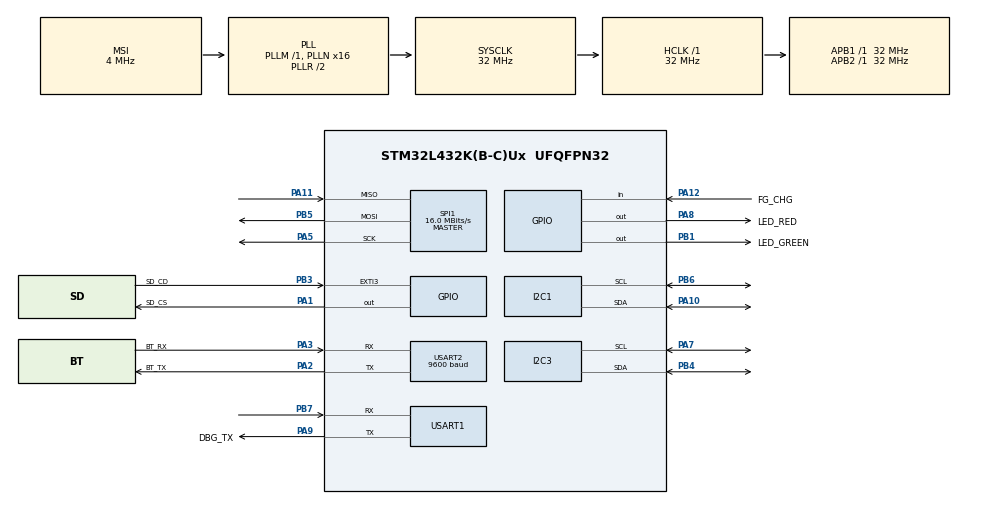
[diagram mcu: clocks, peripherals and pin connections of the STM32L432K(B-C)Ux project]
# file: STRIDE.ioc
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FATFS._MAX_SS=4096
FATFS._USE_LFN=1
I2C1.NoStretchMode=I2C_NOSTRETCH_DISABLE
I2C1.OwnAddress=0x0b
I2C1.Timing=0x00707CBB
I2C3.Timing=0x00707CBB
Mcu.Family=STM32L4
Mcu.Name=STM32L432K(B-C)Ux
Mcu.Package=UFQFPN32
NVIC.EXTI3_IRQn=true\:0\:0\:false\:false\:true\:true\:true\:true
NVIC.PriorityGroup=NVIC_PRIORITYGROUP_4
NVIC.USART1_IRQn=true\:0\:0\:false\:false\:true\:true\:true\:true
NVIC.USART2_IRQn=true\:0\:0\:false\:false\:true\:true\:true\:true
PA1.GPIO_Label=SD_CS
PA1.PinState=GPIO_PIN_SET
PA1.Signal=GPIO_Output
PA10.GPIO_Pu=GPIO_NOPULL
PA10.Mode=I2C
PA10.Signal=I2C1_SDA
PA11.Mode=Full_Duplex_Master
PA11.Signal=SPI1_MISO
PA12.GPIO_Label=FG_CHG
PA12.GPIO_PuPd=GPIO_PULLUP
PA12.Signal=GPIO_Input
PA13\ (JTMS-SWDIO).GPIO_Label=SWDIO
PA13\ (JTMS-SWDIO).Mode=Serial_Wire
PA13\ (JTMS-SWDIO).Signal=SYS_JTMS-SWDIO
PA14\ (JTCK-SWCLK).GPIO_Label=SWCLK
PA14\ (JTCK-SWCLK).Mode=Serial_Wire
PA14\ (JTCK-SWCLK).Signal=SYS_JTCK-SWCLK
PA2.GPIO_Label=BT_TX
PA2.Mode=Asynchronous
PA2.Signal=USART2_TX
PA3.GPIO_Label=BT_RX
PA3.Mode=Asynchronous
PA3.Signal=USART2_RX
PA5.Mode=Full_Duplex_Master
PA5.Signal=SPI1_SCK
PA7.Mode=I2C
PA7.Signal=I2C3_SCL
PA8.GPIO_Label=LED_RED
PA8.Signal=GPIO_Output
PA9.GPIO_Label=DBG_TX
PA9.Mode=Asynchronous
PA9.Signal=USART1_TX
PB1.GPIO_Label=LED_GREEN
PB1.Signal=GPIO_Output
PB3\ (JTDO-TRACESWO).GPIO_Label=SD_CD
PB3\ (JTDO-TRACESWO).GPIO_ModeDefaultEXTI=GPIO_MODE_IT_RISING_FALLING
PB3\ (JTDO-TRACESWO).GPIO_PuPd=GPIO_PULLUP
PB3\ (JTDO-TRACESWO).Signal=GPXTI3
PB4\ (NJTRST).Mode=I2C
PB4\ (NJTRST).Signal=I2C3_SDA
PB5.Mode=Full_Duplex_Master
PB5.Signal=SPI1_MOSI
PB6.GPIO_Pu=GPIO_NOPULL
PB6.Mode=I2C
PB6.Signal=I2C1_SCL
PB7.Mode=Asynchronous
PB7.Signal=USART1_RX
PC14-OSC32_IN\ (PC14).Mode=LSE-External-Oscillator
PC14-OSC32_IN\ (PC14).Signal=RCC_OSC32_IN
PC15-OSC32_OUT\ (PC15).Mode=LSE-External-Oscillator
PC15-OSC32_OUT\ (PC15).Signal=RCC_OSC32_OUT
ProjectManager.HeapSize=0x200
ProjectManager.StackSize=0x400
ProjectManager.TargetToolchain=STM32CubeIDE
RCC.AHBFreq_Value=32000000
RCC.APB1Freq_Value=32000000
RCC.APB1TimFreq_Value=32000000
RCC.APB2Freq_Value=32000000
RCC.APB2TimFreq_Value=32000000
RCC.CortexFreq_Value=32000000
RCC.HCLKFreq_Value=32000000
RCC.HSE_VALUE=8000000
RCC.HSI16_VALUE=16000000
RCC.HSI48_VALUE=48000000
RCC.HSI_VALUE=16000000
RCC.MSI_VALUE=4000000
RCC.PLLMUL=RCC_PLLMUL_4
RCC.PLLN=16
RCC.SYSCLKFreq_VALUE=32000000
RCC.SYSCLKSource=RCC_SYSCLKSOURCE_PLLCLK
RCC.VCOOutputFreq_Value=64000000
SPI1.BaudRatePrescaler=SPI_BAUDRATEPRESCALER_2
SPI1.CalculateBaudRate=16.0 MBits/s
SPI1.DataSize=SPI_DATASIZE_8BIT
SPI1.Direction=SPI_DIRECTION_2LINES
SPI1.Mode=SPI_MODE_MASTER
SPI1.VirtualType=VM_MASTER
TIM1.Prescaler=32
TIM2.Prescaler=32
USART1.RxPinLevelInvertParam=ADVFEATURE_RXINV_DISABLE
USART1.SwapParam=ADVFEATURE_SWAP_DISABLE
USART1.VirtualMode-Asynchronous=VM_ASYNC
USART2.BaudRate=9600
USART2.VirtualMode-Asynchronous=VM_ASYNC
VP_FATFS_VS_Generic.Mode=User_defined
VP_TIM1_VS_ClockSourceINT.Mode=Internal
VP_TIM2_VS_ClockSourceINT.Mode=Internal
board=NUCLEO-L432KC

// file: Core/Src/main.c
/* USER CODE BEGIN Header */
/**
  ******************************************************************************
  * @file           : main.c
  * @brief          : Main program body
  ******************************************************************************
  * @attention
  *
  * Copyright (c) 2022 STMicroelectronics.
  * All rights reserved.
  *
  * This software is licensed under terms that can be found in the LICENSE file
  * in the root directory of this software component.
  * If no LICENSE file comes with this software, it is provided AS-IS.
  *
  ******************************************************************************
  */
/* USER CODE END Header */
#include "main.h"
#include "fatfs.h"

/* USER CODE BEGIN Includes */
#include <stdio.h>
#include <stdlib.h>
#include <stdbool.h>
#include <math.h>
#include <string.h>

#include "retarget.h"
#include "fatfs_sd.h"

#include "sensor_service.h"
#include "data_service.h"
#include "bluetooth_service.h"
#include "sd_logger.h"
#include "bno055_stm32.h"
#include "bq27441.h"
#include "debug_console.h"

/* USER CODE END Includes */

/* USER CODE BEGIN PTD */
#define FORCE_BUF_CAPACITY 500
#define IMPACT_ANGLE_BUF_CAPACITY 50
#define IMPACT_FORCE_BUF_CAPACITY 50

#define MIN_STEP_SEPARATION_MILLIS 200
#define PEAK_FORCE_BUF_CAPACITY 100

#define BATTERY_BUF_CAPACITY 100

#define MAX_INT_32 0xffffffff

#define LOG_SYNC_INTERVAL 5000

#define SEND_STEP_DATA_INTERVAL 490
// low power interval
#define SEND_STEP_DATA_LP_INTERVAL 990
#define SEND_BATT_DATA_INTERVAL 60000
#define BATT_UPDATE_INTERVAL 500
#define DEFAULT_LOW_POWER_THRESHOLD 20

#define SD_CARD_INIT_INTERVAL 500

/* USER CODE END PTD */

/* USER CODE BEGIN PM */
#define max(a,b) \
   ({ __typeof__ (a) _a = (a); \
       __typeof__ (b) _b = (b); \
     _a > _b ? _a : _b; })

#define min(a,b) \
   ({ __typeof__ (a) _a = (a); \
       __typeof__ (b) _b = (b); \
     _a < _b ? _a : _b; })
/* USER CODE END PM */

 I2C_HandleTypeDef hi2c1;
I2C_HandleTypeDef hi2c3;

SPI_HandleTypeDef hspi1;

TIM_HandleTypeDef htim1;
TIM_HandleTypeDef htim2;

UART_HandleTypeDef huart1;
UART_HandleTypeDef huart2;

/* USER CODE BEGIN PV */

float user_mass;
int low_power_threshold = 20;
uint16_t batt_charge_buffer[BATTERY_BUF_CAPACITY];
uint16_t batt_charge_idx;

// Buffers
force_point force_buf[FORCE_BUF_CAPACITY];
float impulse_buffer;
float impact_roll_buffer[IMPACT_ANGLE_BUF_CAPACITY];
float impact_pitch_buffer[IMPACT_ANGLE_BUF_CAPACITY];
uint32_t impact_angle_buffer_size;
float impact_force_buffer[IMPACT_FORCE_BUF_CAPACITY];
uint32_t impact_force_buffer_size;

bool is_low_power_threshold_updated = false;
bool is_batt_connected = true;
bool is_sd_card_inserted = false;
bool is_logging = false;
bool is_sd_init_attempted = false;
FIL log_file;

uint32_t last_sd_card_init_time;

/* USER CODE END PV */

void SystemClock_Config(void);
static void MX_GPIO_Init(void);
static void MX_USART2_UART_Init(void);
static void MX_TIM1_Init(void);
static void MX_TIM2_Init(void);
static void MX_I2C1_Init(void);
static void MX_I2C3_Init(void);
static void MX_SPI1_Init(void);
static void MX_USART1_UART_Init(void);
/* USER CODE BEGIN PFP */

void print_hex(char* data, uint32_t len);
uint32_t diff_time(uint32_t start, uint32_t end);

/* USER CODE END PFP */

/* USER CODE BEGIN 0 */

void print_hex(char* data, uint32_t len) {
	for (uint32_t i = 0; i < len; i++) {
		printf("%02x ", data[i]);
	}
	printf("\r\n");
}

uint32_t diff_time(uint32_t start, uint32_t end) {
	if (end < start) {
		return MAX_INT_32 - end + start;
	} else {
		return end - start;
	}
}

bool get_is_sd_card_inserted() {
  GPIO_PinState sd_cd_state = HAL_GPIO_ReadPin(SD_CD_GPIO_Port, SD_CD_Pin);
  return sd_cd_state == GPIO_PIN_SET;
}

uint16_t get_avg_batt_charge() {
  if (!is_batt_connected) {
    return 100;
  }

  uint16_t batt_charge_sum = 0;
  for (uint16_t i = 0; i < BATTERY_BUF_CAPACITY; i++) {
    batt_charge_sum += batt_charge_buffer[i];
  }
  return batt_charge_sum / BATTERY_BUF_CAPACITY;
}

void update_batt_charge() {
  if (!is_batt_connected) {
    return;
  }
  uint16_t batt_soc_result = BQ27441_soc(FILTERED);
  if (batt_soc_result == 0 || batt_soc_result > 100) {
    return;
  }

  if (get_avg_batt_charge() == 0) {
    for (uint16_t i = 0; i < BATTERY_BUF_CAPACITY; i++) {
      batt_charge_buffer[i] = batt_soc_result;
    }
  } else {
    batt_charge_buffer[batt_charge_idx] = batt_soc_result;
    batt_charge_idx = (batt_charge_idx + 1) % BATTERY_BUF_CAPACITY;
  }
}

uint8_t get_is_batt_low_power() {
  uint16_t batt_charge = get_avg_batt_charge();
  return batt_charge > 0 && batt_charge < (float)low_power_threshold;
}

void HAL_GPIO_EXTI_Callback(uint16_t GPIO_Pin)
{
    if (GPIO_Pin == SD_CD_Pin) {
      is_sd_card_inserted = get_is_sd_card_inserted();
      if (is_sd_card_inserted) {
        last_sd_card_init_time = HAL_GetTick();
      }
    }
}

void HAL_UART_RxCpltCallback(UART_HandleTypeDef *huart) {
  if (huart == &huart1) {
    dbg_callback();
  } else {
    bt_recv_callback();
  }
}

void handle_bt_message(bt_header* header, uint8_t* data) {
  switch (header->cmd) {
    case BT_WEIGHT_CMD:
      user_mass = *(float*)(data);
      printf("New user mass: %f\r\n", user_mass);
      break;

    case BT_CALIBRATE_CMD:
      imu_calibrate();
      printf("Received calibration command\r\n");
      break;
  }
}

void handle_dbg_command(uint8_t cmd, char* value) {
  switch (cmd) {
    case DBG_LPTHRESH_CMD: {
      // convert value string to base 10 integer
      long new_lp_threshold = strtol(value, NULL, 10);
      low_power_threshold = new_lp_threshold;
      is_low_power_threshold_updated = true;
      printf("Setting low power battery threshold to %d\r\n", low_power_threshold);
      break;
    }

    case DBG_CALIBRATE_CMD:
      imu_calibrate();
      printf("Calibrated.\r\n");
      break;

    default:
      printf("Unknown command\r\n");
      break;
  }
}

/* USER CODE END 0 */

int main(void)
{

  /* MCU Configuration--------------------------------------------------------*/

  /* Reset of all peripherals, Initializes the Flash interface and the Systick. */
  HAL_Init();

  /* Configure the system clock */
  SystemClock_Config();

  /* Initialize all configured peripherals */
  MX_GPIO_Init();
  MX_USART2_UART_Init();
  MX_TIM1_Init();
  MX_TIM2_Init();
  MX_FATFS_Init();
  MX_I2C1_Init();
  MX_I2C3_Init();
  MX_SPI1_Init();
  MX_USART1_UART_Init();
  /* USER CODE BEGIN 2 */

  RetargetInit(&huart1);

  if (imu_init(&hi2c1) != SENSOR_OK) {
    printf("[Fatal] [main] IMU initialization failed\r\n");
    return 0;
  }
  if (!BQ27441_init(&hi2c3)) {
    printf("[Warning] [main] Battery monitor initialization failed\r\n");
    is_batt_connected = false;
  }
  is_sd_card_inserted = get_is_sd_card_inserted();

  dbg_init(&huart1, handle_dbg_command);
  bt_init(&huart2, handle_bt_message);

  HAL_TIM_Base_Start(&htim1);
  HAL_TIM_Base_Start(&htim2);

  uint32_t data_buf_idx = 0;
  accel_vec accel_data;
  uint8_t is_first_loop = 1;
  uint8_t is_force_spike = 0;

  peak_force_point peak_force_buf[PEAK_FORCE_BUF_CAPACITY];
  uint32_t peak_force_buf_size = 0;
  peak_force_point new_peak_force;
  uint32_t last_peak_force_time = 0;

  user_mass = 65;
  batt_charge_idx = 0;

  impulse_buffer = 0;
  impact_angle_buffer_size = 0;
  impact_force_buffer_size = 0;

  float force_baseline = user_mass * GRAV_ACCEL;
  float high_force_threshold = force_baseline + 600;
  float step_threshold = high_force_threshold * 2;

  uint32_t last_log_sync_time = HAL_GetTick();
  uint32_t last_send_step_time = HAL_GetTick();
  uint32_t last_send_batt_time = HAL_GetTick() - SEND_BATT_DATA_INTERVAL;
  uint32_t last_update_batt_time = HAL_GetTick() - BATT_UPDATE_INTERVAL;

  printf("[Info] [main] Initialization complete.\r\n");

  /* USER CODE END 2 */

  /* Infinite loop */
  /* USER CODE BEGIN WHILE */

  while (1)
  {
    if (is_sd_card_inserted && !is_sd_init_attempted) {
      // we don't want to try initializing the card right away since the
      // connection might not be solid, so we wait for SD_CARD_INIT_INTERVAL
      // before attempting init
      // if (HAL_GetTick() - last_sd_card_init_time > SD_CARD_INIT_INTERVAL) {
      last_sd_card_init_time = HAL_GetTick();
      is_sd_init_attempted = true;
      is_logging = sd_logger_init(&log_file) == SD_OK;
      if (is_logging) {
        printf("[Info] [main] SD card initialized\r\n");
      } else {
        printf("[Info] [main] SD card initialization failed\r\n");
      }
      // }
    } else if (!is_sd_card_inserted && is_logging) {
      printf("[Info] [main] SD card ejected\r\n");
      sd_logger_terminate(&log_file);
      is_logging = false;
      is_sd_init_attempted = false;
    }

	  force_point* force_pt = &force_buf[data_buf_idx];
	  force_point* prev_force_pt = &force_buf[(data_buf_idx - 1) % FORCE_BUF_CAPACITY];

    force_pt->elapsed_time = __HAL_TIM_GetCounter(&htim1);
	  __HAL_TIM_SET_COUNTER(&htim1, 0);
    imu_sample(&accel_data, &force_pt->angle, force_pt->elapsed_time);
	  force_pt->force = compute_force(&accel_data);

	  if (is_logging) {
		  f_printf(
        &log_file,
        "%ld,%ld,%ld,%ld,%ld,%ld,%ld\n",
        force_pt->elapsed_time,
        (int32_t)(accel_data.x * 1000),
        (int32_t)(accel_data.y * 1000),
        (int32_t)(accel_data.z * 1000),
        (int32_t)(force_pt->angle.roll * 1000),
        (int32_t)(force_pt->angle.pitch * 1000),
        (int32_t)(force_pt->angle.yaw * 1000)
      );
	  }

    // if (accel_data.y == 0) {
    //   HAL_GPIO_WritePin(LED_RED_GPIO_Port, LED_RED_Pin, GPIO_PIN_SET);
    // } else {
    //   HAL_GPIO_WritePin(LED_RED_GPIO_Port, LED_RED_Pin, GPIO_PIN_RESET);
    // }

	  new_peak_force.index = -1; // -1 means no new peak force
	  if (!is_first_loop) {
		  uint8_t force_is_increasing = force_pt->force > prev_force_pt->force;
		  if (!is_force_spike) {
			  // decreasing -> decreasing
			  if (force_pt->force > step_threshold && force_is_increasing) {
				  // decreasing -> increasing
				  is_force_spike = 1;
			  }
		  } else if (!force_is_increasing) {
			  // increasing -> decreasing
			  new_peak_force.force = prev_force_pt->force;
			  new_peak_force.index = (data_buf_idx - 1) % FORCE_BUF_CAPACITY;
			  is_force_spike = 0;
		  }
		  // increasing -> increasing: do nothing
	  }

	  // if force has peaked, add it to list of force peaks
	  if (new_peak_force.index != -1) {
		  last_peak_force_time = HAL_GetTick();
		  peak_force_buf[peak_force_buf_size] = new_peak_force;
      // in the rare case that there are more peak forces that the buffer can handle,
      // just keep overwriting the last entry
      peak_force_buf_size = min(peak_force_buf_size + 1, PEAK_FORCE_BUF_CAPACITY - 1);
//		   printf("Peak %ld %ld\r\n", (uint32_t)new_peak_force.force, last_peak_force_time);
	  }

	  // batch forces together, each batch of forces are caused by the same step
	  if (diff_time(last_peak_force_time, HAL_GetTick()) > MIN_STEP_SEPARATION_MILLIS) {
		  uint8_t is_step = 0;
		  peak_force_point* max_peak_force = 0;

		  if (peak_force_buf_size > 0) {
			  max_peak_force = &peak_force_buf[0];

			  for (uint8_t i = 1; i < peak_force_buf_size; i++) {
				  if (peak_force_buf[i].force > max_peak_force->force) {
					  max_peak_force = &peak_force_buf[i];
				  }
			  }

			  if (max_peak_force->force > step_threshold) {
				  is_step = 1;
			  }
			  peak_force_buf_size = 0;
		  }

		  if (is_step) {
			  int32_t peak_start_index;
			  int32_t peak_end_index;

			  // find where max peak started
			  peak_start_index = max_peak_force->index;
			  while (force_buf[peak_start_index].force > high_force_threshold) {
				  peak_start_index = (peak_start_index - 1) % FORCE_BUF_CAPACITY;
			  }

			  // find where max peak ends
			  peak_end_index = max_peak_force->index;
			  while (force_buf[peak_end_index].force > high_force_threshold) {
				  peak_end_index = (peak_end_index + 1) % FORCE_BUF_CAPACITY;
			  }

			  // account for possible wrap-around in force buffer
			  if (peak_end_index < peak_start_index) {
				  peak_end_index = FORCE_BUF_CAPACITY + peak_end_index;
			  }

			  // riemann sum over max force peak
			  for (uint32_t i = peak_start_index + 1; i < peak_end_index; i++) {
				  impulse_buffer +=
            force_buf[i % FORCE_BUF_CAPACITY].force *
            force_buf[i % FORCE_BUF_CAPACITY].elapsed_time / 1000000.0f;
			  }

			  angle_vec* peak_angle = &force_buf[max_peak_force->index].angle;
			  // get maximum of the 3 angles
			  impact_roll_buffer[impact_angle_buffer_size] = peak_angle->roll;
        impact_pitch_buffer[impact_angle_buffer_size] = peak_angle->pitch;
			  impact_force_buffer[impact_force_buffer_size] = max_peak_force->force;

			  impact_angle_buffer_size = min(impact_angle_buffer_size + 1, IMPACT_ANGLE_BUF_CAPACITY - 1);
			  impact_force_buffer_size = min(impact_force_buffer_size + 1, IMPACT_FORCE_BUF_CAPACITY - 1);

			  printf(
          "Step - Impulse: %f, Max Force: %f, Angle: %f %f %f\r\n",
          impulse_buffer,
          max_peak_force->force,
          peak_angle->roll,
          peak_angle->pitch,
          peak_angle->yaw
        );

        if (is_logging) {
          f_printf(
            &log_file,
            "> Step,%ld,%ld,%ld,%ld,%ld\r\n",
            (int32_t)(impulse_buffer * 1000),
            (int32_t)(max_peak_force->force * 1000),
            (int32_t)(peak_angle->yaw * 1000),
            (int32_t)(peak_angle->roll * 1000),
            (int32_t)(peak_angle->pitch * 1000)
          );
        }
		  } else {
//			  printf("No step\r\n");
		  }
		  last_peak_force_time = HAL_GetTick();
	  }

	  if (is_logging && HAL_GetTick() - last_log_sync_time > LOG_SYNC_INTERVAL) {
		  printf("Log sync\r\n");
      f_sync(&log_file);
      last_log_sync_time = HAL_GetTick();
	  }

	  // send step data to mobile device via bluetooth (bt)
	  uint8_t is_low_power = get_is_batt_low_power();
    uint32_t bt_send_interval = (is_low_power ? SEND_STEP_DATA_LP_INTERVAL : SEND_STEP_DATA_INTERVAL);
	  if (HAL_GetTick() - last_send_step_time > bt_send_interval) {
      // HAL_GPIO_TogglePin(LED_GREEN_GPIO_Port, LED_GREEN_Pin);
      // printf("%.2f, %.2f, %.2f\r\n", accel_data.x, accel_data.y, accel_data.z);
      // printf("%.2f, %.2f, %.2f\r\n", force_pt->angle.roll, force_pt->angle.pitch, force_pt->angle.yaw);
		  bt_send_str_float(BT_IMPULSE_CMD, impulse_buffer);
		  bt_send_str_float_array(BT_ANGLE_ROLL_CMD, impact_roll_buffer, impact_angle_buffer_size);
      bt_send_str_float_array(BT_ANGLE_PITCH_CMD, impact_pitch_buffer, impact_angle_buffer_size);
		  bt_send_str_float_array(BT_MAX_FORCE_CMD, impact_force_buffer, impact_force_buffer_size);
		  impulse_buffer = 0;
		  impact_angle_buffer_size = 0;
		  impact_force_buffer_size = 0;
		  last_send_step_time = HAL_GetTick();
	  }

    if (HAL_GetTick() - last_update_batt_time > BATT_UPDATE_INTERVAL) {
      update_batt_charge();
      last_update_batt_time = HAL_GetTick();
    }

    // check battery percentage, send batt data, and update power indicator light
	  if (
      is_low_power_threshold_updated ||
      HAL_GetTick() - last_send_batt_time > SEND_BATT_DATA_INTERVAL
    ) {
      uint16_t batt_charge = get_avg_batt_charge();
      if (batt_charge > 0) {
        printf("[Info] [main] battery_percent=%d\r\n", batt_charge);
        bt_send_str_uint16(BT_BATT_CMD, batt_charge);
        last_send_batt_time = HAL_GetTick();
      }

      if (is_low_power) {
        HAL_GPIO_WritePin(LED_RED_GPIO_Port, LED_RED_Pin, GPIO_PIN_SET);
        HAL_GPIO_WritePin(LED_GREEN_GPIO_Port, LED_GREEN_Pin, GPIO_PIN_RESET);
      } else {
        HAL_GPIO_WritePin(LED_GREEN_GPIO_Port, LED_GREEN_Pin, GPIO_PIN_SET);
        HAL_GPIO_WritePin(LED_RED_GPIO_Port, LED_RED_Pin, GPIO_PIN_RESET);
      }

      is_low_power_threshold_updated = false;
	  }

	  data_buf_idx = (data_buf_idx + 1) % FORCE_BUF_CAPACITY;
	  is_first_loop = 0;
    /* USER CODE END WHILE */

  }
}

void SystemClock_Config(void)
{
  RCC_OscInitTypeDef RCC_OscInitStruct = {0};
  RCC_ClkInitTypeDef RCC_ClkInitStruct = {0};

  /** Configure the main internal regulator output voltage
  */
  if (HAL_PWREx_ControlVoltageScaling(PWR_REGULATOR_VOLTAGE_SCALE1) != HAL_OK)
  {
    Error_Handler();
  }

  /** Configure LSE Drive Capability
  */
  HAL_PWR_EnableBkUpAccess();
  __HAL_RCC_LSEDRIVE_CONFIG(RCC_LSEDRIVE_LOW);

  /** Initializes the RCC Oscillators according to the specified parameters
  * in the RCC_OscInitTypeDef structure.
  */
  RCC_OscInitStruct.OscillatorType = RCC_OSCILLATORTYPE_LSE|RCC_OSCILLATORTYPE_MSI;
  RCC_OscInitStruct.LSEState = RCC_LSE_ON;
  RCC_OscInitStruct.MSIState = RCC_MSI_ON;
  RCC_OscInitStruct.MSICalibrationValue = 0;
  RCC_OscInitStruct.MSIClockRange = RCC_MSIRANGE_6;
  RCC_OscInitStruct.PLL.PLLState = RCC_PLL_ON;
  RCC_OscInitStruct.PLL.PLLSource = RCC_PLLSOURCE_MSI;
  RCC_OscInitStruct.PLL.PLLM = 1;
  RCC_OscInitStruct.PLL.PLLN = 16;
  RCC_OscInitStruct.PLL.PLLP = RCC_PLLP_DIV7;
  RCC_OscInitStruct.PLL.PLLQ = RCC_PLLQ_DIV2;
  RCC_OscInitStruct.PLL.PLLR = RCC_PLLR_DIV2;
  if (HAL_RCC_OscConfig(&RCC_OscInitStruct) != HAL_OK)
  {
    Error_Handler();
  }

  /** Initializes the CPU, AHB and APB buses clocks
  */
  RCC_ClkInitStruct.ClockType = RCC_CLOCKTYPE_HCLK|RCC_CLOCKTYPE_SYSCLK
                              |RCC_CLOCKTYPE_PCLK1|RCC_CLOCKTYPE_PCLK2;
  RCC_ClkInitStruct.SYSCLKSource = RCC_SYSCLKSOURCE_PLLCLK;
  RCC_ClkInitStruct.AHBCLKDivider = RCC_SYSCLK_DIV1;
  RCC_ClkInitStruct.APB1CLKDivider = RCC_HCLK_DIV1;
  RCC_ClkInitStruct.APB2CLKDivider = RCC_HCLK_DIV1;

  if (HAL_RCC_ClockConfig(&RCC_ClkInitStruct, FLASH_LATENCY_1) != HAL_OK)
  {
    Error_Handler();
  }

  /** Enable MSI Auto calibration
  */
  HAL_RCCEx_EnableMSIPLLMode();
}

static void MX_I2C1_Init(void)
{

  hi2c1.Instance = I2C1;
  hi2c1.Init.Timing = 0x00707CBB;
  hi2c1.Init.OwnAddress1 = 22;
  hi2c1.Init.AddressingMode = I2C_ADDRESSINGMODE_7BIT;
  hi2c1.Init.DualAddressMode = I2C_DUALADDRESS_DISABLE;
  hi2c1.Init.OwnAddress2 = 0;
  hi2c1.Init.OwnAddress2Masks = I2C_OA2_NOMASK;
  hi2c1.Init.GeneralCallMode = I2C_GENERALCALL_DISABLE;
  hi2c1.Init.NoStretchMode = I2C_NOSTRETCH_DISABLE;
  if (HAL_I2C_Init(&hi2c1) != HAL_OK)
  {
    Error_Handler();
  }

  /** Configure Analogue filter
  */
  if (HAL_I2CEx_ConfigAnalogFilter(&hi2c1, I2C_ANALOGFILTER_ENABLE) != HAL_OK)
  {
    Error_Handler();
  }

  /** Configure Digital filter
  */
  if (HAL_I2CEx_ConfigDigitalFilter(&hi2c1, 0) != HAL_OK)
  {
    Error_Handler();
  }

}

static void MX_I2C3_Init(void)
{

  hi2c3.Instance = I2C3;
  hi2c3.Init.Timing = 0x00707CBB;
  hi2c3.Init.OwnAddress1 = 0;
  hi2c3.Init.AddressingMode = I2C_ADDRESSINGMODE_7BIT;
  hi2c3.Init.DualAddressMode = I2C_DUALADDRESS_DISABLE;
  hi2c3.Init.OwnAddress2 = 0;
  hi2c3.Init.OwnAddress2Masks = I2C_OA2_NOMASK;
  hi2c3.Init.GeneralCallMode = I2C_GENERALCALL_DISABLE;
  hi2c3.Init.NoStretchMode = I2C_NOSTRETCH_DISABLE;
  if (HAL_I2C_Init(&hi2c3) != HAL_OK)
  {
    Error_Handler();
  }

  /** Configure Analogue filter
  */
  if (HAL_I2CEx_ConfigAnalogFilter(&hi2c3, I2C_ANALOGFILTER_ENABLE) != HAL_OK)
  {
    Error_Handler();
  }

  /** Configure Digital filter
  */
  if (HAL_I2CEx_ConfigDigitalFilter(&hi2c3, 0) != HAL_OK)
  {
    Error_Handler();
  }

}

static void MX_SPI1_Init(void)
{

  /* SPI1 parameter configuration*/
  hspi1.Instance = SPI1;
  hspi1.Init.Mode = SPI_MODE_MASTER;
  hspi1.Init.Direction = SPI_DIRECTION_2LINES;
  hspi1.Init.DataSize = SPI_DATASIZE_8BIT;
  hspi1.Init.CLKPolarity = SPI_POLARITY_LOW;
  hspi1.Init.CLKPhase = SPI_PHASE_1EDGE;
  hspi1.Init.NSS = SPI_NSS_SOFT;
  hspi1.Init.BaudRatePrescaler = SPI_BAUDRATEPRESCALER_2;
  hspi1.Init.FirstBit = SPI_FIRSTBIT_MSB;
  hspi1.Init.TIMode = SPI_TIMODE_DISABLE;
  hspi1.Init.CRCCalculation = SPI_CRCCALCULATION_DISABLE;
  hspi1.Init.CRCPolynomial = 7;
  hspi1.Init.CRCLength = SPI_CRC_LENGTH_DATASIZE;
  hspi1.Init.NSSPMode = SPI_NSS_PULSE_ENABLE;
  if (HAL_SPI_Init(&hspi1) != HAL_OK)
  {
    Error_Handler();
  }

}

static void MX_TIM1_Init(void)
{

  TIM_ClockConfigTypeDef sClockSourceConfig = {0};
  TIM_MasterConfigTypeDef sMasterConfig = {0};

  htim1.Instance = TIM1;
  htim1.Init.Prescaler = 32;
  htim1.Init.CounterMode = TIM_COUNTERMODE_UP;
  htim1.Init.Period = 65535;
  htim1.Init.ClockDivision = TIM_CLOCKDIVISION_DIV1;
  htim1.Init.RepetitionCounter = 0;
  htim1.Init.AutoReloadPreload = TIM_AUTORELOAD_PRELOAD_DISABLE;
  if (HAL_TIM_Base_Init(&htim1) != HAL_OK)
  {
    Error_Handler();
  }
  sClockSourceConfig.ClockSource = TIM_CLOCKSOURCE_INTERNAL;
  if (HAL_TIM_ConfigClockSource(&htim1, &sClockSourceConfig) != HAL_OK)
  {
    Error_Handler();
  }
  sMasterConfig.MasterOutputTrigger = TIM_TRGO_RESET;
  sMasterConfig.MasterOutputTrigger2 = TIM_TRGO2_RESET;
  sMasterConfig.MasterSlaveMode = TIM_MASTERSLAVEMODE_DISABLE;
  if (HAL_TIMEx_MasterConfigSynchronization(&htim1, &sMasterConfig) != HAL_OK)
  {
    Error_Handler();
  }

}

static void MX_TIM2_Init(void)
{

  TIM_ClockConfigTypeDef sClockSourceConfig = {0};
  TIM_MasterConfigTypeDef sMasterConfig = {0};

  htim2.Instance = TIM2;
  htim2.Init.Prescaler = 32;
  htim2.Init.CounterMode = TIM_COUNTERMODE_UP;
  htim2.Init.Period = 4294967295;
  htim2.Init.ClockDivision = TIM_CLOCKDIVISION_DIV1;
  htim2.Init.AutoReloadPreload = TIM_AUTORELOAD_PRELOAD_DISABLE;
  if (HAL_TIM_Base_Init(&htim2) != HAL_OK)
  {
    Error_Handler();
  }
  sClockSourceConfig.ClockSource = TIM_CLOCKSOURCE_INTERNAL;
  if (HAL_TIM_ConfigClockSource(&htim2, &sClockSourceConfig) != HAL_OK)
  {
    Error_Handler();
  }
  sMasterConfig.MasterOutputTrigger = TIM_TRGO_RESET;
  sMasterConfig.MasterSlaveMode = TIM_MASTERSLAVEMODE_DISABLE;
  if (HAL_TIMEx_MasterConfigSynchronization(&htim2, &sMasterConfig) != HAL_OK)
  {
    Error_Handler();
  }

}

static void MX_USART1_UART_Init(void)
{

  huart1.Instance = USART1;
  huart1.Init.BaudRate = 115200;
  huart1.Init.WordLength = UART_WORDLENGTH_8B;
  huart1.Init.StopBits = UART_STOPBITS_1;
  huart1.Init.Parity = UART_PARITY_NONE;
  huart1.Init.Mode = UART_MODE_TX_RX;
  huart1.Init.HwFlowCtl = UART_HWCONTROL_NONE;
  huart1.Init.OverSampling = UART_OVERSAMPLING_16;
  huart1.Init.OneBitSampling = UART_ONE_BIT_SAMPLE_DISABLE;
  huart1.AdvancedInit.AdvFeatureInit = UART_ADVFEATURE_NO_INIT;
  if (HAL_UART_Init(&huart1) != HAL_OK)
  {
    Error_Handler();
  }

}

static void MX_USART2_UART_Init(void)
{

  huart2.Instance = USART2;
  huart2.Init.BaudRate = 9600;
  huart2.Init.WordLength = UART_WORDLENGTH_8B;
  huart2.Init.StopBits = UART_STOPBITS_1;
  huart2.Init.Parity = UART_PARITY_NONE;
  huart2.Init.Mode = UART_MODE_TX_RX;
  huart2.Init.HwFlowCtl = UART_HWCONTROL_NONE;
  huart2.Init.OverSampling = UART_OVERSAMPLING_16;
  huart2.Init.OneBitSampling = UART_ONE_BIT_SAMPLE_DISABLE;
  huart2.AdvancedInit.AdvFeatureInit = UART_ADVFEATURE_NO_INIT;
  if (HAL_UART_Init(&huart2) != HAL_OK)
  {
    Error_Handler();
  }

}

static void MX_GPIO_Init(void)
{
  GPIO_InitTypeDef GPIO_InitStruct = {0};

  /* GPIO Ports Clock Enable */
  __HAL_RCC_GPIOC_CLK_ENABLE();
  __HAL_RCC_GPIOA_CLK_ENABLE();
  __HAL_RCC_GPIOB_CLK_ENABLE();

  /*Configure GPIO pin Output Level */
  HAL_GPIO_WritePin(SD_CS_GPIO_Port, SD_CS_Pin, GPIO_PIN_SET);

  /*Configure GPIO pin Output Level */
  HAL_GPIO_WritePin(LED_GREEN_GPIO_Port, LED_GREEN_Pin, GPIO_PIN_RESET);

  /*Configure GPIO pin Output Level */
  HAL_GPIO_WritePin(LED_RED_GPIO_Port, LED_RED_Pin, GPIO_PIN_RESET);

  /*Configure GPIO pins : SD_CS_Pin LED_RED_Pin */
  GPIO_InitStruct.Pin = SD_CS_Pin|LED_RED_Pin;
  GPIO_InitStruct.Mode = GPIO_MODE_OUTPUT_PP;
  GPIO_InitStruct.Pull = GPIO_NOPULL;
  GPIO_InitStruct.Speed = GPIO_SPEED_FREQ_LOW;
  HAL_GPIO_Init(GPIOA, &GPIO_InitStruct);

  /*Configure GPIO pin : LED_GREEN_Pin */
  GPIO_InitStruct.Pin = LED_GREEN_Pin;
  GPIO_InitStruct.Mode = GPIO_MODE_OUTPUT_PP;
  GPIO_InitStruct.Pull = GPIO_NOPULL;
  GPIO_InitStruct.Speed = GPIO_SPEED_FREQ_LOW;
  HAL_GPIO_Init(LED_GREEN_GPIO_Port, &GPIO_InitStruct);

  /*Configure GPIO pin : FG_CHG_Pin */
  GPIO_InitStruct.Pin = FG_CHG_Pin;
  GPIO_InitStruct.Mode = GPIO_MODE_INPUT;
  GPIO_InitStruct.Pull = GPIO_PULLUP;
  HAL_GPIO_Init(FG_CHG_GPIO_Port, &GPIO_InitStruct);

  /*Configure GPIO pin : SD_CD_Pin */
  GPIO_InitStruct.Pin = SD_CD_Pin;
  GPIO_InitStruct.Mode = GPIO_MODE_IT_RISING_FALLING;
  GPIO_InitStruct.Pull = GPIO_PULLUP;
  HAL_GPIO_Init(SD_CD_GPIO_Port, &GPIO_InitStruct);

  /* EXTI interrupt init*/
  HAL_NVIC_SetPriority(EXTI3_IRQn, 0, 0);
  HAL_NVIC_EnableIRQ(EXTI3_IRQn);

}

void Error_Handler(void)
{
  __disable_irq();
  while (1)
  {
  }
}
